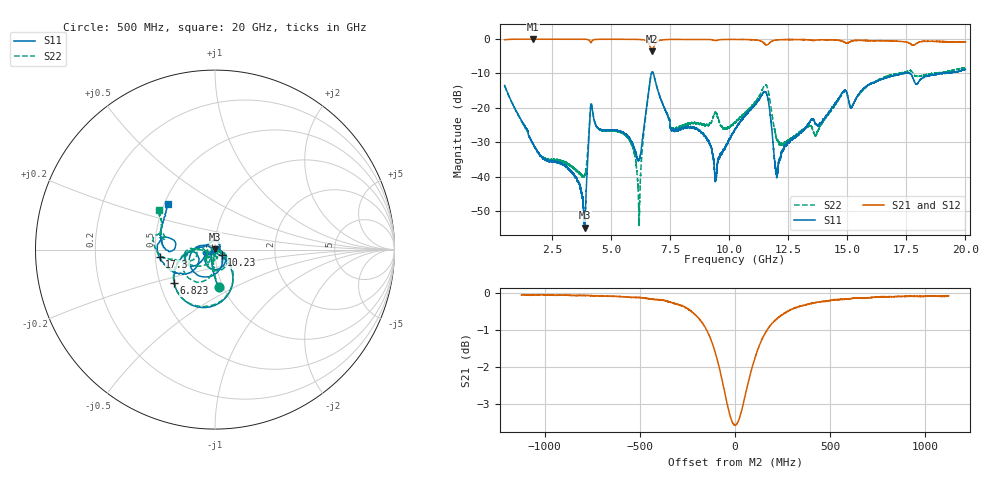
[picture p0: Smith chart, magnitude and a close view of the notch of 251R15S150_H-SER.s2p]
!{251R15S150}
!Johanson Technology Inc.
!www.johansontechnology.com
!Test Board Conditions:
!Substrate Type  RO4350B
!Substrate Thickness  20 mil
!Substrate Dk  3.66
!TL Type: GCPW
!TL Trace Width  34 mil
!TL Gap  10 mil
!Electrode orientation  Horizontal
!DUT TOPOLOGY	SERIES
!Mounting Pad LxW  26x52 mil
! Created Thu Mar 12 16:52:14 2020
# mhz S ma R 50
! 2 Port Network Data from SP1.SP block
! freq  magS11  angS11  magS21  angS21  magS12  angS12  magS22  angS22
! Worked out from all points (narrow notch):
!   19501 points, 500 MHz to 20 GHz, reference 50 ohm
!   highest |S21| = -0.01 dB at 1.688 GHz (marker M1); lowest = -3.6 dB at 6.735 GHz (marker M2)
!   notch at M2: 3.4 dB deep, 187 MHz wide at half that depth
!   lowest |S11| = -54.8 dB at 3.897 GHz (marker M3), VSWR 1.00, Z = 50.1 + j0.171 ohm
!   |S11| at or under -10 dB: start of sweep to 6.708 GHz; 6.795 GHz to 17.37 GHz (10.57 GHz wide, 87.5 % of centre); 17.65 GHz to 18.92 GHz (1.271 GHz wide, 6.95 % of centre)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
!   |S22| runs from -54.2 to -8.3 dB; largest |S21 - S12| = 0.022
!   S11 on the Smith chart (normalised r, x): 500 MHz: 0.95, -0.42; 6.823 GHz: 0.59, -0.24; 10.23 GHz: 1.08, -0.06; 17.3 GHz: 0.53, -0.05; 20 GHz: 0.53, +0.31
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500  0.2114 -84.5  0.9752 5.6  0.9758 5.6  0.2111 -84.0
1688  0.03065 -132.1  0.9989 -21.2  0.9978 -21.2  0.03054 -89.6
3750  0.005737 147.6  0.9952 -54.6  0.9946 -54.6  0.01046 -64.5
3897  0.001819 69.7  0.9928 -57.3  0.9927 -57.3  0.01056 -42.7
4096  0.05861 -27.3  0.9459 -62.7  0.9459 -62.7  0.06534 -24.0
4192  0.1042 -111.7  0.9249 -57.4  0.925 -57.4  0.1087 -104.7
5781  0.03661 -157.2  0.9912 -85.7  0.9923 -85.7  0.03417 176.9
6186  0.01762 -100.2  0.9853 -93.5  0.9858 -93.4  0.002709 -128.6
6735  0.3333 -105.2  0.6628 -98.8  0.6643 -98.7  0.3282 -105.8
6823  0.2928 -140.9  0.7896 -88.7  0.791 -88.5  0.2903 -142.0
7000  0.1727 -170.0  0.9388 -94.6  0.9399 -94.5  0.1726 -171.4
7622  0.04834 134.8  0.9879 -108.8  0.9887 -108.8  0.0504 -162.4
8828  0.04383 60.2  0.989 -129.0  0.9883 -129.0  0.05758 -132.3
9430  0.009565 -150.0  0.948 -138.1  0.9505 -138.1  0.08702 -128.6
10232  0.04753 -38.4  0.9876 -150.8  0.9861 -150.8  0.06091 -103.8
10250  0.0488 -38.6  0.9874 -151.1  0.9875 -151.1  0.06077 -103.3
11533  0.1708 -136.3  0.8371 -173.2  0.837 -173.1  0.2156 -130.9
12023  0.01009 -140.6  0.9712 -174.2  0.9701 -174.2  0.0344 -152.5
13500  0.06753 -157.6  0.9596 158.9  0.9613 158.9  0.05299 -99.5
16750  0.2834 -158.3  0.9419 105.8  0.9336 105.2  0.2937 -171.4
17303  0.3105 -172.2  0.9213 95.5  0.9189 95.5  0.3231 -178.6
20000  0.3637 135.5  0.9025 49.9  0.9021 50.1  0.3837 145.0
